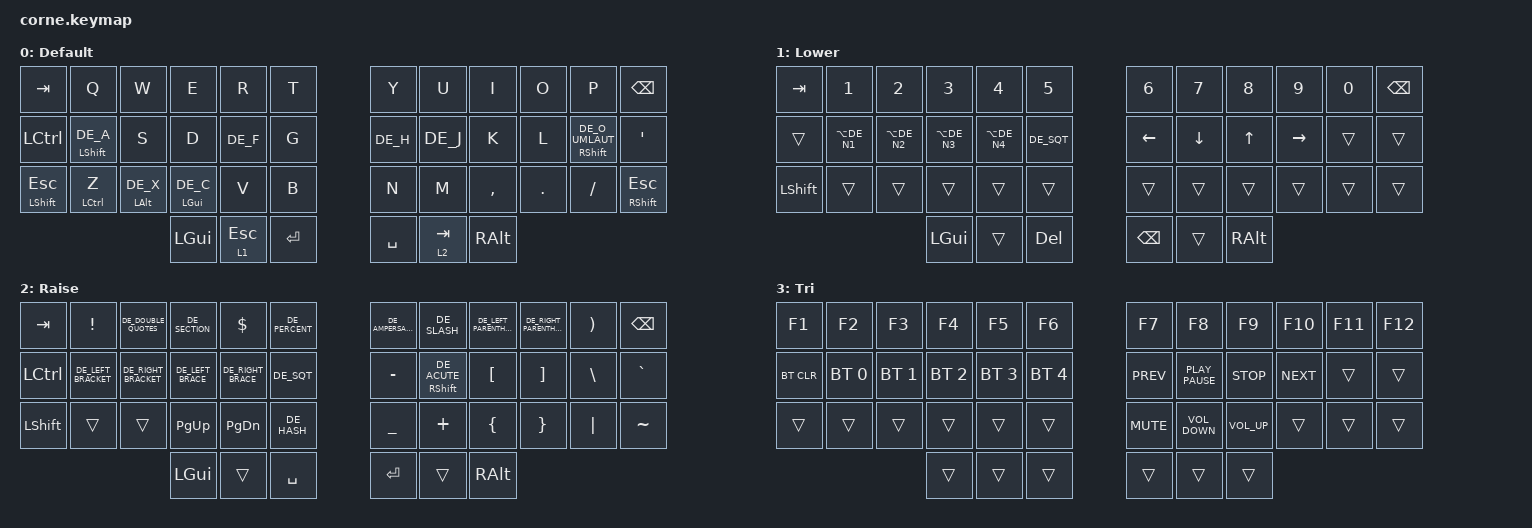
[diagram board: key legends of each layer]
/*
 * Copyright (c) 2020 The ZMK Contributors
 *
 * SPDX-License-Identifier: MIT
 */

#include "keys_de.h"
#include "keys_de_osx.h"
#include <behaviors.dtsi>
#include <dt-bindings/zmk/bt.h>
#include <dt-bindings/zmk/keys.h>

&mt { flavor = "balanced"; };

/ {
    combos {
        compatible = "zmk,combos";

        lshift_homerow {
            bindings = <&kp ESC>;
            key-positions = <14 15>;
        };

        rshift_homerow {
            bindings = <&kp TAB>;
            key-positions = <20 21>;
        };
    };

    keymap {
        compatible = "zmk,keymap";

        default_layer {
            // -----------------------------------------------------------------------------------------
            // |  TAB |  Q  |  W  |  E  |  R  |  T  |   |  Y  |  U   |  I  |  O  |  P  | BKSP |
            // | CTRL |  A  |  S  |  D  |  F  |  G  |   |  H  |  J   |  K  |  L  |  ;  |  '   |
            // | SHFT |  Z  |  X  |  C  |  V  |  B  |   |  N  |  M   |  ,  |  .  |  /  | ESC  |
            //                    | GUI | LWR | SPC |   | ENT | RSE  | ALT |

            bindings = <
&kp TAB         &kp Q            &kp W          &kp E          &kp R      &kp T      &kp Y      &kp U      &kp I      &kp O    &kp P                   &kp BSPC
&kp LCTRL       &mt LSHIFT DE_A  &kp S          &kp D          &kp DE_F   &kp G      &kp DE_H   &kp DE_J   &kp K      &kp L    &mt RSHIFT DE_O_UMLAUT  &kp SQT
&mt LSHIFT ESC  &mt LCTRL Z      &mt LALT DE_X  &mt LGUI DE_C  &kp V      &kp B      &kp N      &kp M      &kp COMMA  &kp DOT  &kp FSLH                &mt RSHIFT ESC
                                                &kp LGUI       &lt 1 ESC  &kp RET    &kp SPACE  &lt 2 TAB  &kp RALT
            >;

            label = "Default";
        };

        lower_layer {
            // -----------------------------------------------------------------------------------------
            // |  TAB |  1  |  2  |  3  |  4  |  5  |   |  6  |  7  |  8  |  9  |  0  | BKSP |
            // | BTCLR| BT1 | BT2 | BT3 | BT4 | BT5 |   | LFT | DWN |  UP | RGT |     |      |
            // | SHFT |     |     |     |     |     |   |     |     |     |     |     |      |
            //                    | GUI |     | SPC |   | ENT |     | ALT |

            bindings = <
&kp TAB    &kp N1         &kp N2         &kp N3         &kp N4         &kp N5        &kp N6         &kp N7    &kp N8    &kp N9     &kp N0  &kp BSPC
&trans     &kp LA(DE_N1)  &kp LA(DE_N2)  &kp LA(DE_N3)  &kp LA(DE_N4)  &kp DE_SQT    &kp LEFT       &kp DOWN  &kp UP    &kp RIGHT  &trans  &trans
&kp LSHFT  &trans         &trans         &trans         &trans         &trans        &trans         &trans    &trans    &trans     &trans  &trans
                                         &kp LGUI       &trans         &kp DELETE    &kp BACKSPACE  &trans    &kp RALT
            >;

            label = "Lower";
        };

        raise_layer {
            // -----------------------------------------------------------------------------------------
            // |  TAB |  !  |  "  |  § |  $  |  %  |   |  &  |  /  |  *  |  (  |  )  | BKSP |
            // | CTRL |     |     |     |     |     |   |  -  |  =  |  [  |  ]  |  \  |  `   |
            // | SHFT |     |     |     |     |     |   |  _  |  +  |  {  |  }  | "|" |  ~   |
            //                    | GUI |     | SPC |   | ENT |     | ALT |

            bindings = <
&kp TAB    &kp EXCL             &kp DE_DOUBLE_QUOTES  &kp DE_SECTION     &kp DLLR            &kp DE_PERCENT    &kp DE_AMPERSAND  &kp DE_SLASH         &kp DE_LEFT_PARENTHESIS  &kp DE_RIGHT_PARENTHESIS  &kp RPAR  &kp BSPC
&kp LCTRL  &kp DE_LEFT_BRACKET  &kp DE_RIGHT_BRACKET  &kp DE_LEFT_BRACE  &kp DE_RIGHT_BRACE  &kp DE_SQT        &kp MINUS         &mt RSHIFT DE_ACUTE  &kp LBKT                 &kp RBKT                  &kp BSLH  &kp GRAVE
&kp LSHFT  &trans               &trans                &kp PAGE_UP        &kp PAGE_DOWN       &kp DE_HASH       &kp UNDER         &kp PLUS             &kp LBRC                 &kp RBRC                  &kp PIPE  &kp TILDE
                                                      &kp LGUI           &trans              &kp SPACE         &kp RET           &trans               &kp RALT
            >;

            label = "Raise";
        };

        tri {
            bindings = <
&kp F1      &kp F2        &kp F3        &kp F4        &kp F5        &kp F6          &kp F7      &kp F8             &kp F9           &kp F10     &kp F11  &kp F12
&bt BT_CLR  &bt BT_SEL 0  &bt BT_SEL 1  &bt BT_SEL 2  &bt BT_SEL 3  &bt BT_SEL 4    &kp K_PREV  &kp K_PLAY_PAUSE   &kp K_STOP       &kp K_NEXT  &trans   &trans
&trans      &trans        &trans        &trans        &trans        &trans          &kp K_MUTE  &kp C_VOLUME_DOWN  &kp C_VOLUME_UP  &trans      &trans   &trans
                                        &trans        &trans        &trans          &trans      &trans             &trans
            >;

            label = "Tri";
        };
    };

    conditional_layers {
        compatible = "zmk,conditional-layers";

        Tri {
            if-layers = <1 2>;
            then-layer = <3>;
        };
    };
};
